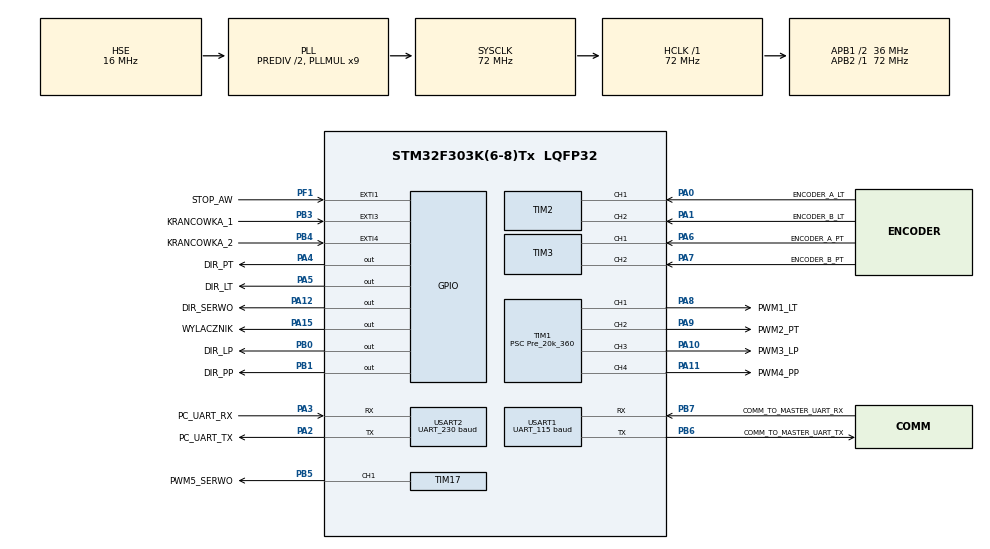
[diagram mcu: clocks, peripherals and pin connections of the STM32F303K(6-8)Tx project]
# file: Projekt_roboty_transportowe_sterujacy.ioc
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Mcu.Family=STM32F3
Mcu.Name=STM32F303K(6-8)Tx
Mcu.Package=LQFP32
Mcu.UserConstants=Hz100,99;Hz20,499;Hz10,999;Pre_20k_360,19;UART_115,115200;Pre_10kHz,7199;Pre_10k,7199;UART_SPEED_MCU,921600;Hz1000,9;Counter_20kHz_360,359;Counter_10kHz_1,9999;UART_230,230400
NVIC.EXTI1_IRQn=true\:0\:0\:false\:false\:true\:true\:true
NVIC.EXTI3_IRQn=true\:0\:0\:false\:false\:true\:true\:true
NVIC.EXTI4_IRQn=true\:0\:0\:false\:false\:true\:true\:true
NVIC.PriorityGroup=NVIC_PRIORITYGROUP_4
NVIC.TIM6_DAC1_IRQn=true\:0\:0\:false\:false\:true\:true\:true
NVIC.TIM7_DAC2_IRQn=true\:0\:0\:false\:false\:true\:true\:true
NVIC.USART1_IRQn=true\:0\:0\:false\:false\:true\:true\:true
NVIC.USART2_IRQn=true\:0\:0\:false\:false\:true\:true\:true
PA0.GPIO_Label=ENCODER_A_LT
PA0.Signal=S_TIM2_CH1_ETR
PA1.GPIO_Label=ENCODER_B_LT
PA1.Signal=S_TIM2_CH2
PA10.GPIO_Label=PWM3_LP
PA10.Signal=S_TIM1_CH3
PA11.GPIO_Label=PWM4_PP
PA11.Signal=S_TIM1_CH4
PA12.GPIO_Label=DIR_SERWO
PA12.Signal=GPIO_Output
PA13.Mode=Serial_Wire
PA13.Signal=SYS_JTMS-SWDIO
PA14.Mode=Serial_Wire
PA14.Signal=SYS_JTCK-SWCLK
PA15.GPIO_Label=WYLACZNIK
PA15.Signal=GPIO_Output
PA2.GPIO_Label=PC_UART_TX
PA2.Mode=Asynchronous
PA2.Signal=USART2_TX
PA3.GPIO_Label=PC_UART_RX
PA3.Mode=Asynchronous
PA3.Signal=USART2_RX
PA4.GPIO_Label=DIR_PT
PA4.Signal=GPIO_Output
PA5.GPIO_Label=DIR_LT
PA5.Signal=GPIO_Output
PA6.GPIO_Label=ENCODER_A_PT
PA6.Signal=S_TIM3_CH1
PA7.GPIO_Label=ENCODER_B_PT
PA7.Signal=S_TIM3_CH2
PA8.GPIO_Label=PWM1_LT
PA8.Signal=S_TIM1_CH1
PA9.GPIO_Label=PWM2_PT
PA9.Signal=S_TIM1_CH2
PB0.GPIO_Label=DIR_LP
PB0.Signal=GPIO_Output
PB1.GPIO_Label=DIR_PP
PB1.Signal=GPIO_Output
PB3.GPIO_Label=KRANCOWKA_1
PB3.GPIO_ModeDefaultEXTI=GPIO_MODE_IT_RISING_FALLING
PB3.Signal=GPXTI3
PB4.GPIO_Label=KRANCOWKA_2
PB4.GPIO_ModeDefaultEXTI=GPIO_MODE_IT_RISING_FALLING
PB4.Signal=GPXTI4
PB5.GPIO_Label=PWM5_SERWO
PB5.Signal=S_TIM17_CH1
PB6.GPIO_Label=COMM_TO_MASTER_UART_TX
PB6.Mode=Asynchronous
PB6.Signal=USART1_TX
PB7.GPIO_Label=COMM_TO_MASTER_UART_RX
PB7.Mode=Asynchronous
PB7.Signal=USART1_RX
PF0\ /\ OSC_IN.Mode=HSE-External-Clock-Source
PF0\ /\ OSC_IN.Signal=RCC_OSC_IN
PF1\ /\ OSC_OUT.GPIO_Label=STOP_AW
PF1\ /\ OSC_OUT.GPIO_ModeDefaultEXTI=GPIO_MODE_IT_RISING_FALLING
PF1\ /\ OSC_OUT.Signal=GPXTI1
ProjectManager.HeapSize=0x200
ProjectManager.StackSize=0x400
ProjectManager.TargetToolchain=STM32CubeIDE
RCC.AHBFreq_Value=72000000
RCC.APB1CLKDivider=RCC_HCLK_DIV2
RCC.APB1Freq_Value=36000000
RCC.APB1TimFreq_Value=72000000
RCC.APB2Freq_Value=72000000
RCC.APB2TimFreq_Value=72000000
RCC.CortexFreq_Value=72000000
RCC.HCLKFreq_Value=72000000
RCC.HSE_VALUE=16000000
RCC.HSI_VALUE=8000000
RCC.PLLMUL=RCC_PLL_MUL9
RCC.PLLSourceVirtual=RCC_PLLSOURCE_HSE
RCC.RCC_PLLsource_Clock_Source_FROM_HSE=RCC_HSE_PREDIV_DIV2
RCC.SYSCLKFreq_VALUE=72000000
RCC.SYSCLKSourceVirtual=RCC_SYSCLKSOURCE_PLLCLK
RCC.Usart1ClockSelection=RCC_USART1CLKSOURCE_SYSCLK
SH.S_TIM17_CH1.0=TIM17_CH1,PWM Generation1 CH1
SH.S_TIM1_CH1.0=TIM1_CH1,PWM Generation1 CH1
SH.S_TIM1_CH2.0=TIM1_CH2,PWM Generation2 CH2
SH.S_TIM1_CH3.0=TIM1_CH3,PWM Generation3 CH3
SH.S_TIM1_CH4.0=TIM1_CH4,PWM Generation4 CH4
SH.S_TIM2_CH1_ETR.0=TIM2_CH1,Encoder_Interface
SH.S_TIM2_CH2.0=TIM2_CH2,Encoder_Interface
SH.S_TIM3_CH1.0=TIM3_CH1,Encoder_Interface
SH.S_TIM3_CH2.0=TIM3_CH2,Encoder_Interface
TIM1.Channel-PWM\ Generation1\ CH1=TIM_CHANNEL_1
TIM1.Channel-PWM\ Generation2\ CH2=TIM_CHANNEL_2
TIM1.Channel-PWM\ Generation3\ CH3=TIM_CHANNEL_3
TIM1.Channel-PWM\ Generation4\ CH4=TIM_CHANNEL_4
TIM1.Period=Counter_20kHz_360
TIM1.Prescaler=Pre_20k_360
TIM17.Channel=TIM_CHANNEL_1
TIM17.Period=Counter_20kHz_360
TIM17.Prescaler=Pre_20k_360
TIM2.EncoderMode=TIM_ENCODERMODE_TI12
TIM2.IC1Filter=15
TIM2.IC2Filter=15
TIM3.EncoderMode=TIM_ENCODERMODE_TI12
TIM3.IC1Filter=15
TIM3.IC2Filter=15
TIM6.Period=Hz10
TIM6.Prescaler=Pre_10kHz
TIM7.Period=Hz10
TIM7.Prescaler=Pre_10kHz
TIM7.TIM_MasterOutputTrigger=TIM_TRGO_RESET
USART1.BaudRate=UART_115
USART1.VirtualMode-Asynchronous=VM_ASYNC
USART2.BaudRate=UART_230
USART2.VirtualMode-Asynchronous=VM_ASYNC
VP_TIM17_VS_ClockSourceINT.Mode=Enable_Timer
VP_TIM6_VS_ClockSourceINT.Mode=Enable_Timer
VP_TIM7_VS_ClockSourceINT.Mode=Enable_Timer
board=NUCLEO-F303K8

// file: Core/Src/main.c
/* USER CODE BEGIN Header */
/**
  ******************************************************************************
  * @file           : main.c
  * @brief          : Main program body
  ******************************************************************************
  * @attention
  *
  * Copyright (c) 2022 STMicroelectronics.
  * All rights reserved.
  *
  * This software is licensed under terms that can be found in the LICENSE file
  * in the root directory of this software component.
  * If no LICENSE file comes with this software, it is provided AS-IS.
  *
  ******************************************************************************
  */
/* USER CODE END Header */
#include "main.h"
#include "tim.h"
#include "usart.h"
#include "gpio.h"

/* USER CODE BEGIN Includes */
//https://github.com/mokhwasomssi/stm32_hal_ibus
#include <stdio.h>
#include <stdlib.h>
#include <math.h>
#include <stdbool.h>
#include "PID.h"
#include "MOT.h"

/* USER CODE END Includes */

/* USER CODE BEGIN PV */
#define PC_UART (&huart2)
#define PC_RECV_LEN 5
#define PC_SEND_LEN 21

#define MCU_UART (&huart1)
#define MCU_LEN 14

#define ENCODER_LEWY (&htim2)
#define ENCODER_PRAWY (&htim3)
#define PWM_TIMER_SILNIKI (&htim1)
#define PWM_TIMER_SERWO (&htim17)
#define PID_TIMER (&htim6)
#define COMM_TIMER (&htim7)
#define COMM_HZ 10
#define PID_HZ 10

#define CW 0
#define CCW 1

#define PID_POWER 1.0

#define CH_TYL_LEWY                        0x00000000U                          /*!< Capture/compare channel 1 identifier      */
#define CH_TYL_PRAWY                       0x00000004U                          /*!< Capture/compare channel 2 identifier      */
#define CH_PRZOD_LEWY                      0x00000008U                          /*!< Capture/compare channel 3 identifier      */
#define CH_PRZOD_PRAWY 					   0x0000000CU

#define CH_SERWO                        0x00000000U

#define KP 1.0
#define TI 1.0
#define TD 0.0

#define L1 43.0
#define L2 10.0
#define SERWO_SCALE_MAX 25
#define LEWE_KOLO 0
#define PRAWE_KOLO 1
#define L_ADD 50
//DEFINES INSIDE MOT.h OF MOTOR PROPERTIES

/* USER CODE END PV */

void SystemClock_Config(void);

/* USER CODE BEGIN 0 */
//int8_t Wiadomosc[200];
//int16_t Rozmiar;
//int16_t test = 10;

bool MA = 0;
bool OFF_ON = 1;

bool krancowka = 0;
bool STOP_AW = 0;

int8_t PID_flaga = 0;
int8_t COMM_flaga = 0;
int8_t UART_flaga = 0;

uint8_t mcu_data[MCU_LEN];
uint8_t pc_recv_data[PC_RECV_LEN];
uint8_t pc_send_data[PC_SEND_LEN];

uint16_t recv_pc  = 0;
uint16_t recv_mcu  = 0;

float r1;
float r2;

//TYL
int16_t sterowanie_tyl_lewy = 0;
int16_t sterowanie_tyl_prawy = 0;

int16_t pomiar_tyl_lewy = 0;
int16_t pomiar_tyl_prawy = 0;

int16_t setpoint_tyl_lewy = 0;
int16_t setpoint_tyl_prawy = 0;

PID_t Pid_tyl_lewy;
PID_t Pid_tyl_prawy;

motor mot_tyl_lewy;
motor mot_tyl_prawy;

//Przod
int16_t sterowanie_przod_lewy = 0;
int16_t sterowanie_przod_prawy = 0;

int16_t pomiar_przod_lewy = 0;
int16_t pomiar_przod_prawy = 0;

int16_t setpoint_przod_lewy = 0;
int16_t setpoint_przod_prawy = 0;

PID_t Pid_przod_lewy;
PID_t Pid_przod_prawy;

motor mot_przod_lewy;
motor mot_przod_prawy;

float ms = 0.1;

int16_t I1_V = 0;
int16_t I2_OMEGA = 0;
int16_t I4_Vmax = 0;

int16_t pomiar_serwo_kat = 0;
int16_t sterowanie_serwo_kat = 0;

//void HAL_UART_RxCpltCallback(UART_HandleTypeDef *huart);
void HAL_TIM_PeriodElapsedCallback (TIM_HandleTypeDef* htim);
int16_t to_process_range(int16_t input);
int16_t przelicz_kat(int16_t setpoint, bool L_P);
//int16_t to_communication_range(int16_t input, int16_t replacement);
//bool check_communication(int16_t input);
//int16_t to_DAC(int16_t input, float min, float max);

/* USER CODE END 0 */

int main(void)
{

  /* MCU Configuration--------------------------------------------------------*/

  /* Reset of all peripherals, Initializes the Flash interface and the Systick. */
  HAL_Init();

  /* Configure the system clock */
  SystemClock_Config();

  /* Initialize all configured peripherals */
  MX_GPIO_Init();
  MX_TIM7_Init();
  MX_TIM3_Init();
  MX_USART1_UART_Init();
  MX_TIM1_Init();
  MX_TIM2_Init();
  MX_TIM6_Init();
  MX_TIM17_Init();
  MX_USART2_UART_Init();
  /* USER CODE BEGIN 2 */
  //INIT komunikacji ze zdalna aparatura
  //ibus_init();

  //timery dla PID i komunikacji z PC
  HAL_TIM_Base_Start_IT(PID_TIMER);
  HAL_TIM_Base_Start_IT(COMM_TIMER);
  HAL_TIM_Encoder_Start(ENCODER_LEWY, TIM_CHANNEL_ALL);
  HAL_TIM_Encoder_Start(ENCODER_PRAWY, TIM_CHANNEL_ALL);
  HAL_TIM_PWM_Start(PWM_TIMER_SILNIKI, TIM_CHANNEL_1);
  HAL_TIM_PWM_Start(PWM_TIMER_SILNIKI, TIM_CHANNEL_2);
  HAL_TIM_PWM_Start(PWM_TIMER_SILNIKI, TIM_CHANNEL_3);
  HAL_TIM_PWM_Start(PWM_TIMER_SILNIKI, TIM_CHANNEL_4);
  HAL_TIM_PWM_Start(PWM_TIMER_SERWO, TIM_CHANNEL_1);
  __HAL_UART_ENABLE_IT(MCU_UART, UART_IT_RXNE);  // Interrupt Enable
  __HAL_UART_ENABLE_IT(MCU_UART, UART_IT_TC);

  //Pid inicjalizacja
  ms = 1.0/(PID_HZ);
  pid_init(&Pid_tyl_lewy, KP, TI, TD, ms,PID_POWER);
  pid_scaling(&Pid_tyl_lewy, Counter_20kHz_360, -Counter_20kHz_360, Counter_20kHz_360, -Counter_20kHz_360);
  pid_init(&Pid_tyl_prawy, KP, TI, TD, ms,PID_POWER);
  pid_scaling(&Pid_tyl_prawy, Counter_20kHz_360, -Counter_20kHz_360, Counter_20kHz_360, -Counter_20kHz_360);
  pid_init(&Pid_przod_lewy, KP, TI, TD, ms,PID_POWER);
  pid_scaling(&Pid_przod_lewy, Counter_20kHz_360, -Counter_20kHz_360, Counter_20kHz_360, -Counter_20kHz_360);
  pid_init(&Pid_przod_prawy, KP, TI, TD, ms,PID_POWER);
  pid_scaling(&Pid_przod_prawy, Counter_20kHz_360, -Counter_20kHz_360, Counter_20kHz_360, -Counter_20kHz_360);

  //Motor inicjalizacja
  motor_init(&mot_tyl_lewy,DIR_LT_GPIO_Port,DIR_LT_Pin);
  motor_init(&mot_tyl_prawy,DIR_PT_GPIO_Port,DIR_PT_Pin);
  motor_init(&mot_przod_lewy,DIR_LP_GPIO_Port,DIR_LP_Pin);
  motor_init(&mot_przod_prawy,DIR_PP_GPIO_Port,DIR_PP_Pin);

  /* USER CODE END 2 */

  /* Infinite loop */
  /* USER CODE BEGIN WHILE */
  while (1)
  {

	  if(PID_flaga == 1){

		  PID_flaga = 0;

		  //LEWE TYL - PID OBLICZA NAWET W TRYBIE MANUALNYM
		  pomiar_tyl_lewy = to_process_range(motor_calculate_speed(&mot_tyl_lewy, ENCODER_LEWY, PID_HZ));
		  sterowanie_tyl_lewy = pid_calc(&Pid_tyl_lewy, pomiar_tyl_lewy, setpoint_tyl_lewy);

		  //PRZOD
		  sterowanie_przod_lewy = pid_calc(&Pid_przod_lewy, pomiar_przod_lewy, setpoint_przod_lewy);

		  //PRAWE TYL
		  pomiar_tyl_prawy = to_process_range(motor_calculate_speed(&mot_tyl_prawy, ENCODER_PRAWY, PID_HZ));
		  sterowanie_tyl_prawy = pid_calc(&Pid_tyl_prawy, pomiar_tyl_prawy, setpoint_tyl_prawy);

		  //PRZOD
		  sterowanie_przod_prawy = pid_calc(&Pid_przod_prawy, pomiar_przod_prawy, setpoint_przod_prawy);

		  //STEROWANIE DLA TRYBU AUTOMATYCZNEGO
		  //if(MA == 1){  TU I NA KONCU ZAKOMENTOWANE
		  if (I1_V != 0){

			  if(sterowanie_tyl_lewy > I4_Vmax){
				  sterowanie_tyl_lewy = I4_Vmax;

			  }
			  else if(sterowanie_tyl_lewy < -I4_Vmax){
				  sterowanie_tyl_lewy = -I4_Vmax;
			  }
			  if(sterowanie_tyl_prawy > I4_Vmax){
				  sterowanie_tyl_prawy = I4_Vmax;

			  }
			  else if(sterowanie_tyl_prawy < -I4_Vmax){
				  sterowanie_tyl_prawy = -I4_Vmax;
			  }

			  if(sterowanie_przod_lewy > I4_Vmax){
				  sterowanie_przod_lewy = I4_Vmax;

			  }
			  else if(sterowanie_przod_lewy < -I4_Vmax){
				  sterowanie_przod_lewy = -I4_Vmax;
			  }
			  if(sterowanie_przod_prawy > I4_Vmax){
				  sterowanie_przod_prawy = I4_Vmax;

			  }
			  else if(sterowanie_przod_prawy < -I4_Vmax){
				  sterowanie_przod_prawy = -I4_Vmax;
			  }

			  set_motor_dir(&mot_tyl_lewy,sterowanie_tyl_lewy);
			  __HAL_TIM_SetCompare(PWM_TIMER_SILNIKI, CH_TYL_LEWY,abs(sterowanie_tyl_lewy));
			  set_motor_dir(&mot_przod_lewy,sterowanie_przod_lewy);
			  __HAL_TIM_SetCompare(PWM_TIMER_SILNIKI, CH_PRZOD_LEWY,abs(sterowanie_przod_lewy));

			  set_motor_dir(&mot_tyl_prawy,sterowanie_tyl_prawy);
			  __HAL_TIM_SetCompare(PWM_TIMER_SILNIKI, CH_TYL_PRAWY,abs(sterowanie_tyl_prawy));
			  set_motor_dir(&mot_przod_prawy,sterowanie_przod_prawy);
			  __HAL_TIM_SetCompare(PWM_TIMER_SILNIKI, CH_PRZOD_PRAWY,abs(sterowanie_przod_prawy));
		  }
		  else{
			  set_motor_dir(&mot_tyl_lewy,0);
			  __HAL_TIM_SetCompare(PWM_TIMER_SILNIKI, CH_TYL_LEWY,0);
			  set_motor_dir(&mot_przod_lewy,0);
			  __HAL_TIM_SetCompare(PWM_TIMER_SILNIKI, CH_PRZOD_LEWY,0);

			  set_motor_dir(&mot_tyl_prawy,0);
			  __HAL_TIM_SetCompare(PWM_TIMER_SILNIKI, CH_TYL_PRAWY,0);
			  set_motor_dir(&mot_przod_prawy,0);
			  __HAL_TIM_SetCompare(PWM_TIMER_SILNIKI, CH_PRZOD_PRAWY,0);
		  }
		  //}
	  }

	  /*
	  //STEROWANIE KOLAMI
	  if(PID_flaga == 1){
		  PID_flaga = 0;

		  //LEWE - PID OBLICZA NAWET W TRYBIE MANUALNYM
		  pomiar_tyl_lewy = to_process_range(motor_calculate_speed(&mot_tyl_lewy, ENCODER_LEWY, PID_HZ));
		  sterowanie_tyl_lewy = pid_calc(&Pid_tyl_lewy, pomiar_tyl_lewy, setpoint_tyl_lewy);

		  //STEROWANIE DLA TRYBU AUTOMATYCZNEGO
		  if(MA == 1){
			  if (I1_V != 0){
				  set_motor_dir(&mot_tyl_lewy,sterowanie_tyl_lewy);
				  __HAL_TIM_SetCompare(PWM_TIMER, CH_TYL_LEWY,abs(sterowanie_tyl_lewy));
				  __HAL_TIM_SetCompare(PWM_TIMER, CH_PRZOD_LEWY,abs(sterowanie_tyl_lewy));
			  }
			  else{
				  set_motor_dir(&mot_tyl_lewy,0);
				  __HAL_TIM_SetCompare(PWM_TIMER, CH_TYL_LEWY,0);
				  __HAL_TIM_SetCompare(PWM_TIMER, CH_PRZOD_LEWY,0);
			  }
		  }

		  //PRAWE - PID OBLICZA NAWET W TRYBIE MANUALNYM
		  pomiar_tyl_prawy = to_process_range(motor_calculate_speed(&mot_tyl_prawy, ENCODER_PRAWY, PID_HZ));
		  sterowanie_tyl_prawy = pid_calc(&Pid_tyl_prawy, pomiar_tyl_prawy, setpoint_tyl_prawy);

		  //STEROWANIE DLA TRYBU AUTOMATYCZNEGO
		  if(MA == 1){
			  if (I1_V != 0){
				  set_motor_dir(&mot_tyl_prawy,sterowanie_tyl_prawy);
				  __HAL_TIM_SetCompare(PWM_TIMER, CH_TYL_PRAWY,abs(sterowanie_tyl_prawy));
				  __HAL_TIM_SetCompare(PWM_TIMER, CH_PRZOD_PRAWY,abs(sterowanie_tyl_prawy));
			  }
			  else{
				  set_motor_dir(&mot_tyl_prawy,0);
				  __HAL_TIM_SetCompare(PWM_TIMER, CH_TYL_PRAWY,0);
				  __HAL_TIM_SetCompare(PWM_TIMER, CH_PRZOD_PRAWY,0);
			  }
		  }
	  } */

	  if(COMM_flaga == 1){
		  COMM_flaga = 0;

		  //Odbior danych
		  if(UART_flaga == 1)
		  {
			  UART_flaga = 0;
			  //recv_mcu = HAL_UART_Receive_IT(MCU_UART,mcu_data,sizeof(mcu_data));
		  }
		  recv_mcu = HAL_UART_Receive_IT(MCU_UART,mcu_data,sizeof(mcu_data));
		  //recv_mcu = HAL_UART_Receive(MCU_UART,mcu_data,sizeof(mcu_data),100);
		  recv_pc = HAL_UART_Receive(PC_UART,pc_recv_data,PC_RECV_LEN,200);

		  //Przetwarzanie warunkow dla OFF ON oraz MA
		  if(mcu_data[0] == 1){OFF_ON = 1;}
		  else{OFF_ON = 0;}

		  if(mcu_data[1] == 1){MA = 1;}
		  else if(mcu_data[1] == 0){MA = 0;}
		  else
		  {
			  MA = 0;
			  OFF_ON = 0;
		  }

		  //Odczyt pomiarow z enkoderow na masterze
		  pomiar_przod_lewy = (int16_t)((mcu_data[3] << 8) | mcu_data[2]);
		  if(mot_przod_lewy.DIRECTION == DIR_CCW)
		  {
			  pomiar_przod_lewy = -pomiar_przod_lewy;
		  }
		  pomiar_przod_prawy = (int16_t)((mcu_data[5] << 8) | mcu_data[4]);
		  if(mot_przod_prawy.DIRECTION == DIR_CCW)
		  {
			  pomiar_przod_prawy = -pomiar_przod_prawy;
		  }

		  //Zwrotka z serwo i maksymalna predkosc
		  pomiar_serwo_kat = (int16_t)((mcu_data[7] << 8) | mcu_data[6]);
		  I4_Vmax = (int16_t)((mcu_data[13] << 8) | mcu_data[12]);

		  //Jeśli MA == 0 to odczyt z PILOTA z mastera
		  if(MA == 0){
			  I1_V = (int16_t)((mcu_data[9] << 8) | mcu_data[8]);
			  I2_OMEGA = (int16_t)((mcu_data[11] << 8) | mcu_data[10]);
		  }

		  //Jeśli MA == 1 to odczyt z PC
		  if(MA == 1){

			  I1_V = (int16_t)((pc_recv_data[2] << 8) | pc_recv_data[1]);
			  I2_OMEGA = (int16_t)((pc_recv_data[4] << 8) | pc_recv_data[3]);

			  if(pc_recv_data[0] == 1){OFF_ON = 1;}
			  else{OFF_ON = 0;}
		  }

		  if(STOP_AW == 1){
			  OFF_ON = 0;
			  MA = 0;
		  }

		  if(OFF_ON == 0){
			  I1_V = 0;
			  I2_OMEGA = 0;
			  sterowanie_serwo_kat = 0;

			  HAL_GPIO_WritePin(WYLACZNIK_GPIO_Port, WYLACZNIK_Pin, 1);
		  }
		  else if(OFF_ON == 1){
			  HAL_GPIO_WritePin(WYLACZNIK_GPIO_Port, WYLACZNIK_Pin, 0);
		  }

		  //Sterowanie serwonapędem oraz sprawdzenie ograniczeń
		  if (OFF_ON == 1){
			  if (krancowka == 1){
				  if (sterowanie_serwo_kat > 0){
					  I2_OMEGA = sterowanie_serwo_kat - 2;

				  }
				  else{
					  I2_OMEGA = sterowanie_serwo_kat + 2;
				  }
			  }
			  else{sterowanie_serwo_kat = I2_OMEGA;}

			  //Sprawdzenie ograniczeń predkosci

			  if(I1_V > I4_Vmax){
				  I1_V = I4_Vmax;

			  }
			  else if(I1_V < -I4_Vmax){
				  I1_V = -I4_Vmax;
			  }
		  }

		  if(I2_OMEGA >= 0){HAL_GPIO_WritePin(DIR_SERWO_GPIO_Port, DIR_SERWO_Pin, 0);}
		  else{HAL_GPIO_WritePin(DIR_SERWO_GPIO_Port, DIR_SERWO_Pin, 1);}
		  __HAL_TIM_SetCompare(PWM_TIMER_SERWO, CH_SERWO,abs(I2_OMEGA));

		  setpoint_przod_lewy = przelicz_kat(I1_V,0);
		  setpoint_przod_prawy = przelicz_kat(I1_V,1);
		  setpoint_tyl_lewy = I1_V;
		  setpoint_tyl_prawy = I1_V;

		  //Transmisja danych UARTEM do PC
		  if(OFF_ON == 1){pc_send_data[0] = 1;}
		  else{pc_send_data[0] = 0;}
		  pc_send_data[1] = (uint8_t)pomiar_tyl_lewy;
		  pc_send_data[2] = (uint8_t)(pomiar_tyl_lewy >> 8);
		  pc_send_data[3] = (uint8_t)pomiar_tyl_prawy;
		  pc_send_data[4] = (uint8_t)(pomiar_tyl_prawy >> 8);
		  pc_send_data[5] = (uint8_t)pomiar_przod_lewy;
		  pc_send_data[6] = (uint8_t)(pomiar_przod_lewy >> 8);
		  pc_send_data[7] = (uint8_t)pomiar_przod_prawy;
		  pc_send_data[8] = (uint8_t)(pomiar_przod_prawy >> 8);
		  pc_send_data[9] = (uint8_t)pomiar_serwo_kat;
		  pc_send_data[10] = (uint8_t)(pomiar_serwo_kat >> 8);
		  pc_send_data[11] = (uint8_t)sterowanie_tyl_lewy;
		  pc_send_data[12] = (uint8_t)(sterowanie_tyl_lewy >> 8);
		  pc_send_data[13] = (uint8_t)sterowanie_tyl_prawy;
		  pc_send_data[14] = (uint8_t)(sterowanie_tyl_prawy >> 8);
		  pc_send_data[15] = (uint8_t)sterowanie_przod_lewy;
		  pc_send_data[16] = (uint8_t)(sterowanie_przod_lewy >> 8);
		  pc_send_data[17] = (uint8_t)sterowanie_przod_prawy;
		  pc_send_data[18] = (uint8_t)(sterowanie_przod_prawy >> 8);
		  pc_send_data[19] = (uint8_t)sterowanie_serwo_kat;
		  pc_send_data[20] = (uint8_t)(sterowanie_serwo_kat >> 8);
		  if(MA == 1){pc_send_data[21] = 1;}
		  else if(MA == 0){
			  pc_send_data[21] = 0;
		  }
		  else{pc_send_data[21] = 3;}
		  HAL_UART_Transmit(PC_UART, pc_send_data, PC_SEND_LEN, 200);

	  }
	  /*
	  //ODBIOR Z KOMUNIKACJI I OBROBKA DANYCH
	  if(COMM_flaga == 1){

		  COMM_flaga = 0;

		  odebranie = ibus_read(ibus_data);
		  ibus_soft_failsafe(ibus_data, 10);

		  I1_V = to_communication_range(ibus_data[0], 1500);
		  I2_OMEGA = to_communication_range(ibus_data[1],1500);
		  I3_PLCHLDR = to_communication_range(ibus_data[2],1500);
		  I4_V_MAX = to_communication_range(ibus_data[3],2000);
		  I5_MA = to_communication_range(ibus_data[4],0);
		  if (I5_MA == 0){ibus_data[5] = 1000;} 				//JEŚLI NIE MA TRYBU W ODPOWIEDNIM RANGE TO STOP
		  I6_ONOFF = to_communication_range(ibus_data[5],1000);

		  //SPROWADZENIE WARTOSCI DO BOOL
		  OFF_ON = check_communication(I6_ONOFF);
		  MA = check_communication(I5_MA);

		  //JEŚLI WY�?ĄCZONY TO TRYB MANUALNY NADPISUJACY ZEROWE STEROWANIA
		  if (OFF_ON == 0){ MA = 0;}

		  //W�?ĄCZONY
		  if (OFF_ON == 1){
			  if (I1_V > I4_V_MAX){ I1_V = I4_V_MAX; }

			  I1_V = to_process_range(2*(I1_V-1500));

			  setpoint_tyl_lewy = I1_V;
			  setpoint_tyl_prawy = I1_V;
		  }

		  //WY�?ĄCZONY - WPISANIE ZER
		  else{
			  I1_V = 0;

			  setpoint_tyl_lewy = I1_V;
			  setpoint_tyl_prawy = I1_V;
		  }

		  //STEROWANIE DLA TRYBU MANUALNEGO
		  if (MA == 0){
			  set_motor_dir(&mot_tyl_lewy,I1_V);
			  __HAL_TIM_SetCompare(PWM_TIMER, CH_TYL_LEWY,I1_V);
			  __HAL_TIM_SetCompare(PWM_TIMER, CH_PRZOD_LEWY,I1_V);

			  set_motor_dir(&mot_tyl_prawy,I1_V);
			  __HAL_TIM_SetCompare(PWM_TIMER, CH_TYL_PRAWY,I1_V);
			  __HAL_TIM_SetCompare(PWM_TIMER, CH_PRZOD_PRAWY,I1_V);
		  }

	  }

	Rozmiar = sprintf((char *)Wiadomosc, "czesc:%d\n", test);
	HAL_UART_Transmit(&huart1, (uint8_t*) Wiadomosc,  Rozmiar, 100);*/

    /* USER CODE END WHILE */

  }
}

void SystemClock_Config(void)
{
  RCC_OscInitTypeDef RCC_OscInitStruct = {0};
  RCC_ClkInitTypeDef RCC_ClkInitStruct = {0};
  RCC_PeriphCLKInitTypeDef PeriphClkInit = {0};

  /** Initializes the RCC Oscillators according to the specified parameters
  * in the RCC_OscInitTypeDef structure.
  */
  RCC_OscInitStruct.OscillatorType = RCC_OSCILLATORTYPE_HSE;
  RCC_OscInitStruct.HSEState = RCC_HSE_BYPASS;
  RCC_OscInitStruct.HSEPredivValue = RCC_HSE_PREDIV_DIV2;
  RCC_OscInitStruct.HSIState = RCC_HSI_ON;
  RCC_OscInitStruct.PLL.PLLState = RCC_PLL_ON;
  RCC_OscInitStruct.PLL.PLLSource = RCC_PLLSOURCE_HSE;
  RCC_OscInitStruct.PLL.PLLMUL = RCC_PLL_MUL9;
  if (HAL_RCC_OscConfig(&RCC_OscInitStruct) != HAL_OK)
  {
    Error_Handler();
  }
  /** Initializes the CPU, AHB and APB buses clocks
  */
  RCC_ClkInitStruct.ClockType = RCC_CLOCKTYPE_HCLK|RCC_CLOCKTYPE_SYSCLK
                              |RCC_CLOCKTYPE_PCLK1|RCC_CLOCKTYPE_PCLK2;
  RCC_ClkInitStruct.SYSCLKSource = RCC_SYSCLKSOURCE_PLLCLK;
  RCC_ClkInitStruct.AHBCLKDivider = RCC_SYSCLK_DIV1;
  RCC_ClkInitStruct.APB1CLKDivider = RCC_HCLK_DIV2;
  RCC_ClkInitStruct.APB2CLKDivider = RCC_HCLK_DIV1;

  if (HAL_RCC_ClockConfig(&RCC_ClkInitStruct, FLASH_LATENCY_2) != HAL_OK)
  {
    Error_Handler();
  }
  PeriphClkInit.PeriphClockSelection = RCC_PERIPHCLK_USART1|RCC_PERIPHCLK_TIM1;
  PeriphClkInit.Usart1ClockSelection = RCC_USART1CLKSOURCE_SYSCLK;
  PeriphClkInit.Tim1ClockSelection = RCC_TIM1CLK_HCLK;
  if (HAL_RCCEx_PeriphCLKConfig(&PeriphClkInit) != HAL_OK)
  {
    Error_Handler();
  }
}

/* USER CODE BEGIN 4 */

void HAL_UART_RxCpltCallback(UART_HandleTypeDef *huart)
{
	//if(huart == IBUS_UART) { ibus_reset_failsafe();}
	/*if(huart == MCU_UART) {
		UART_flaga = 1;
		recv_mcu = HAL_UART_Receive_IT(MCU_UART,mcu_data,sizeof(mcu_data));}
*/
}

void HAL_TIM_PeriodElapsedCallback (TIM_HandleTypeDef* htim)
{
	if(htim == PID_TIMER){
		PID_flaga = 1;
	}

	if(htim == COMM_TIMER){
		COMM_flaga = 1;
	}
}

int16_t to_process_range(int16_t input)
{
	int16_t out = (int16_t)(((float)(input * Counter_20kHz_360))/1000.0);

	if (out > Counter_20kHz_360) { out = Counter_20kHz_360; }
	else if (out < -Counter_20kHz_360) { out = -Counter_20kHz_360; }

	return out;
}
int16_t przelicz_kat(int16_t setpoint, bool L_P){
	bool dir;
	float stosunek;
	float predkosc;

	int16_t tmp = (setpoint * SERWO_SCALE_MAX) / Counter_20kHz_360;
	if(setpoint >= 0){
		dir = 0;
	}
	else{dir = 1;}

	r1 = (L1*cos(tmp) + L2)/sin(tmp);
	r2 = (L2*cos(tmp) + L1)/sin(tmp);

	predkosc = (float)( (((float)tmp) * (r1 - ( ((float)L_ADD) /2.0) )) / r2);
	stosunek = (r1 + ( ((float)L_ADD) /2.0))/(r1 - ( ((float)L_ADD) /2.0) );

	if( (L_P == 0) && (dir == 0) ){
		return (int16_t)(stosunek*predkosc);
	}
	else if( (L_P == 0) && (dir == 1) ){
			return (int16_t)(predkosc);
	}
	else if( (L_P == 1) && (dir == 1) ){
			return (int16_t)(stosunek*predkosc);
	}
	else if( (L_P == 1) && (dir == 0) ){
			return (int16_t)(predkosc);
	}
	else{return 0;}
}
void HAL_GPIO_EXTI_Callback(uint16_t GPIO_Pin)
{
    if(GPIO_Pin == STOP_AW_Pin)
    {
    	if(HAL_GPIO_ReadPin(STOP_AW_GPIO_Port, STOP_AW_Pin) == GPIO_PIN_SET){
    		STOP_AW = 1;
    	}
    	if(HAL_GPIO_ReadPin(STOP_AW_GPIO_Port, STOP_AW_Pin) == GPIO_PIN_RESET){
    	    STOP_AW = 0;
    	}

    }

    if(GPIO_Pin == KRANCOWKA_1_Pin)
    {
    	if((HAL_GPIO_ReadPin(KRANCOWKA_1_GPIO_Port, KRANCOWKA_1_Pin) == GPIO_PIN_SET) || (HAL_GPIO_ReadPin(KRANCOWKA_2_GPIO_Port, KRANCOWKA_2_Pin) == GPIO_PIN_SET)){
    		krancowka = 1;
    	}
    	if((HAL_GPIO_ReadPin(KRANCOWKA_1_GPIO_Port, KRANCOWKA_1_Pin) == GPIO_PIN_RESET) && (HAL_GPIO_ReadPin(KRANCOWKA_2_GPIO_Port, KRANCOWKA_2_Pin) == GPIO_PIN_RESET)){
    		krancowka = 0;
    	}
    }

    if(GPIO_Pin == KRANCOWKA_2_Pin)
    {
    	if((HAL_GPIO_ReadPin(KRANCOWKA_1_GPIO_Port, KRANCOWKA_1_Pin) == GPIO_PIN_SET) || (HAL_GPIO_ReadPin(KRANCOWKA_2_GPIO_Port, KRANCOWKA_2_Pin) == GPIO_PIN_SET)){
    		krancowka = 1;
    	}
    	if((HAL_GPIO_ReadPin(KRANCOWKA_1_GPIO_Port, KRANCOWKA_1_Pin) == GPIO_PIN_RESET) && (HAL_GPIO_ReadPin(KRANCOWKA_2_GPIO_Port, KRANCOWKA_2_Pin) == GPIO_PIN_RESET)){
    		krancowka = 0;
    	}
    }

}
/*
int16_t to_communication_range(int16_t input, int16_t replacement)
{
	int16_t out;

	if (input < 1000) { out = replacement;}
	else if (input > 2000) { out = replacement;}
	else { out = input;}

	return out;
}

bool check_communication(int16_t input)
{
	bool out;

	if (input < 1050) { out = 0;}
	else if (input > 1950) { out = 1;}
	else { out = 0;}

	return out;
}

int16_t to_DAC(int16_t input, float min, float max)
{
	int16_t out;

	out = (int16_t) ( ((float)(input - 1000) /1000.0) * ( max - min ) + min );

	return out;
}*/

/* USER CODE END 4 */

void Error_Handler(void)
{
}
